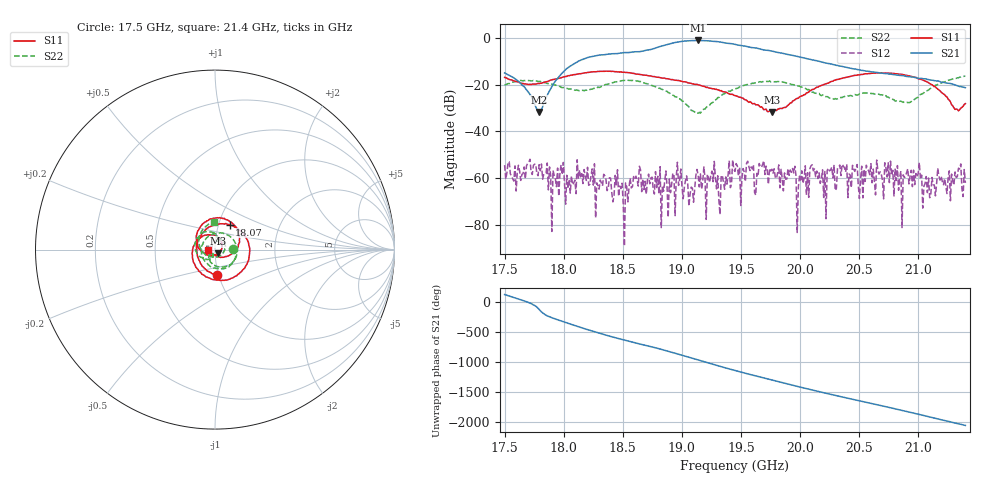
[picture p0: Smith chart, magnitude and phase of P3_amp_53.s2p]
!Created with skrf (http://scikit-rf.org).
# GHz S RI R 50.0
!freq ReS11 ImS11 ReS21 ImS21 ReS12 ImS12 ReS22 ImS22
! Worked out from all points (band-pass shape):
!   401 points, 17.5 GHz to 21.4 GHz, reference 50 ohm
!   highest |S21| = -0.97 dB at 19.14 GHz (marker M1); lowest = -31.6 dB at 17.79 GHz (marker M2)
!   |S21| within 3 dB of the highest: 18.79 GHz to 19.58 GHz (794.4 MHz wide, 4.14 % of centre)
!   lowest |S11| = -31.7 dB at 19.76 GHz (marker M3), VSWR 1.05, Z = 51.6 - j2.13 ohm
!   |S11| at or under -10 dB: start of sweep to end of sweep
!   |S22| runs from -32.2 to -16.2 dB; largest |S21 - S12| = 0.89
!   S11 on the Smith chart (normalised r, x): 17.5 GHz: 0.98, -0.29; 18.07 GHz: 1.13, +0.32; 21.4 GHz: 0.92, -0.00
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17.5  0.00877 -0.1437  -0.0882 0.1568  -0.00137 0.00131  0.0987 0.000961
17.7925  -0.0908 0.0544  -0.0168 -0.0202  -0.00062 0.00183  0.0524 -0.105
18.0655  0.0814 0.1393  0.247 -0.0835  0.0011 -0.000206  -0.0723 -0.0361
18.15325  0.1403 0.1043  0.0888 -0.3348  0.00123 0.000176  -0.0737 0.0193
18.32875  0.1917 -0.0279  -0.4399 0.013  0.000359 -0.000576  0.02 0.0915
18.50425  0.1042 -0.1538  0.0496 0.488  0.000269 2.95e-05  0.1226 0.00919
18.631  0.00181 -0.1687  0.4814 0.1791  -0.000129 -0.000661  0.0874 -0.0828
18.8065  -0.1073 -0.0972  0.2892 -0.5856  -0.00017 0.000422  -0.00858 -0.0837
18.904  -0.1254 -0.0348  -0.3431 -0.687  -0.000399 0.000275  -0.0297 -0.0569
19.0015  -0.1156 0.0257  -0.8479 -0.1044  -0.000375 -0.000527  -0.0329 -0.0308
19.0795  -0.0889 0.0605  -0.6949 0.5521  0.000556 0.000313  -0.021 -0.0189
19.138  -0.0637 0.077  -0.2683 0.8529  -0.000529 0.00103  -0.0145 -0.0198
19.30375  0.00395 0.0777  0.8206 0.1927  -0.000185 0.0011  -0.0219 -0.0484
19.45  0.0337 0.0482  0.2908 -0.6806  0.00134 0.000338  -0.0658 -0.049
19.61575  0.0389 0.00789  -0.5492 -0.2916  0.000488 -4.1e-05  -0.1097 0.00315
19.762  0.016 -0.0206  -0.3651 0.3831  0.00064 -0.0014  -0.0935 0.0702
19.98625  -0.0424 -0.0297  0.366 0.1595  0.000529 -0.000359  -0.00637 0.094
20.10325  -0.0793 -0.00608  0.2916 -0.1803  -0.0016 -0.00107  0.0129 0.0677
20.20075  -0.0975 0.0259  0.0651 -0.2925  -0.000368 -0.000101  0.0157 0.0585
20.386  -0.0905 0.1116  -0.2257 -0.0762  -0.000829 0.00105  0.0104 0.0568
20.7565  0.0858 0.1541  0.1362 0.1002  0.000662 0.000447  0.0523 -0.00496
21.4  -0.0394 -0.000145  -0.0104 0.086  -0.000714 -0.00033  -0.00806 0.1538
